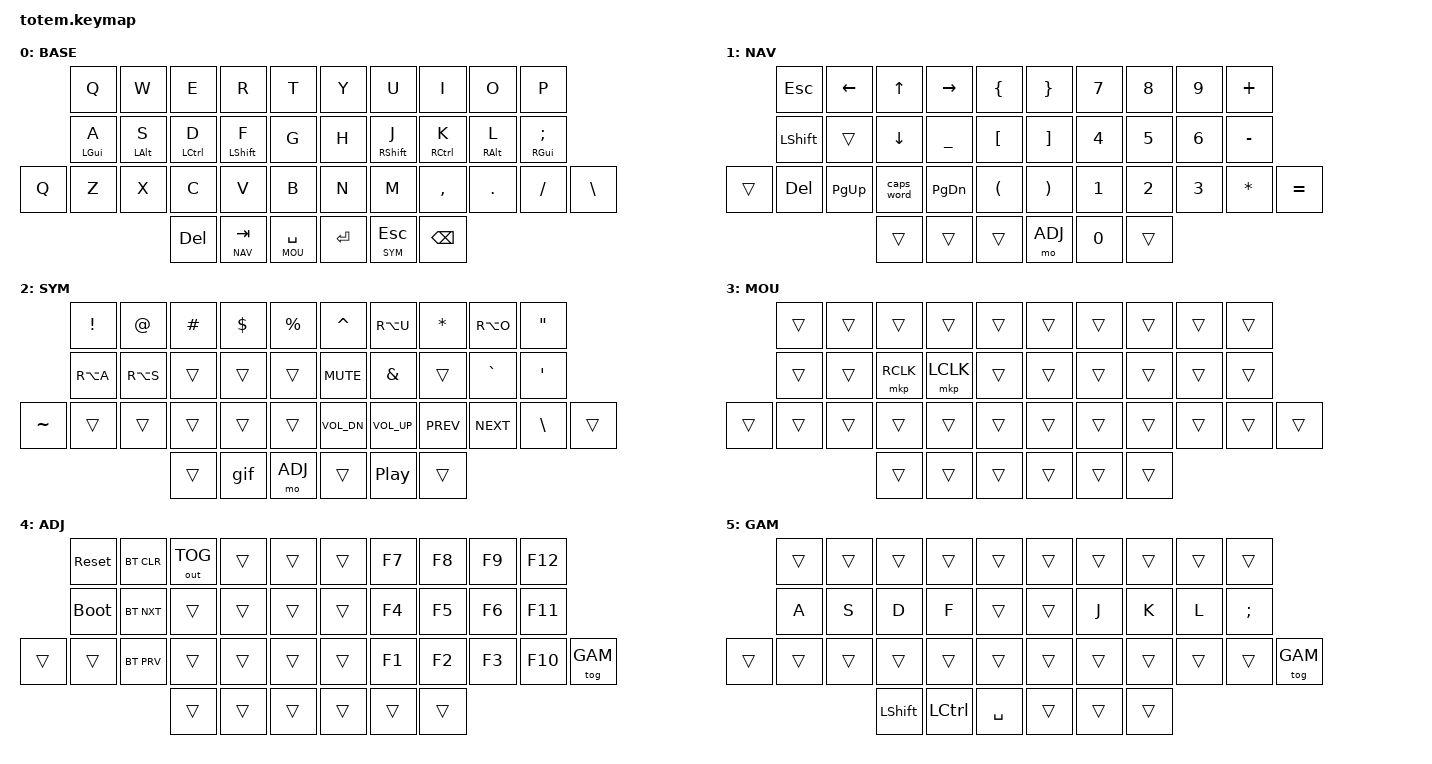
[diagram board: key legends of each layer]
//
//                                                        ▀▀▀▀▀     ▀▀▀▀▀          ▀▀█▀▀
//                                                        ▄▀▀▀▄  ▄  ▄▀▀▀▄  ▄  ▄▀▀▀▄  █  ▄▀▀▀▄
//                                                        █   █  █  █   █  █  █   █  █  █   █
//                                                         ▀▀▀   █   ▀▀▀   █   ▀▀▀   ▀   ▀▀▀
//                                                               █      ▄▄▄█▄▄▄    █   █  
//                                                               ▀      █  █  █     █▄█
//                                                             ▀▀▀▀▀    █  █  █      ▀
//                                                                      ▀  ▀  ▀
//
// ▄▄▄▄▄▄▄▄▄▄▄▄▄▄▄▄▄▄▄▄▄▄▄▄▄▄▄▄▄▄▄▄▄▄▄▄▄▄▄▄▄▄▄▄▄▄▄▄▄▄▄▄▄▄▄▄▄▄▄▄▄▄▄▄▄▄▄▄▄▄▄▄▄▄▄▄▄▄▄▄▄▄▄▄▄▄▄▄▄▄▄▄▄▄▄▄▄▄▄▄▄▄▄▄▄▄▄▄▄▄▄▄▄▄▄▄▄▄▄▄▄▄▄▄▄▄▄▄▄▄▄▄▄▄▄▄▄▄▄▄▄▄▄▄▄▄▄▄▄

#include <dt-bindings/zmk/mouse.h>
#include <behaviors.dtsi>
#include <dt-bindings/zmk/bt.h>
#include <dt-bindings/zmk/keys.h>
#include <dt-bindings/zmk/outputs.h>
#include <dt-bindings/zmk/pointing.h>

#define BASE 0
#define NAV  1
#define SYM  2
#define MOU  3
#define ADJ  4
#define GAM  5

&mt {
    quick-tap-ms = <100>;
    global-quick-tap;
    flavor = "tap-preferred";
    tapping-term-ms = <170>;
};

/ {
    combos {
        compatible = "zmk,combos";

        combo_esc {
            timeout-ms = <50>;
            key-positions = <0 1>;
            bindings = <&kp ESC>;
        };
    };

    macros {
        gif: gif {
            label = "giphy";
            compatible = "zmk,behavior-macro";
            #binding-cells = <0>;
            bindings =
                <&macro_press>,
                <&kp LSHFT>,
                <&macro_tap>,
                <&kp N2>,
                <&macro_release>,
                <&kp LSHFT>,
                <&macro_tap>,
                <&kp G &kp I &kp F>;
        };
    };

    behaviors {
        caps_word: caps_word {
            compatible = "zmk,behavior-caps-word";
            label = "CAPS_WORD";
            #binding-cells = <0>;
            continue-list = <UNDERSCORE MINUS>;
        };
    };

    keymap {
        compatible = "zmk,keymap";

        base_layer {
            label = "BASE";
            bindings = <
       &kp Q       &kp W       &kp E        &kp R        &kp T            &kp Y    &kp U        &kp I        &kp O       &kp P
       &mt LGUI A  &mt LALT S  &mt LCTRL D  &mt LSHFT F  &kp G            &kp H    &mt RSHFT J  &mt RCTRL K  &mt RALT L  &mt RGUI SEMI
&kp Q  &kp Z       &kp X       &kp C        &kp V        &kp B            &kp N    &kp M        &kp COMMA    &kp DOT     &kp FSLH       &kp BSLH
                               &kp DEL      &lt NAV TAB  &lt MOU SPACE    &kp RET  &lt SYM ESC  &kp BSPC
            >;
        };

        nav_layer {
            label = "NAV";
            bindings = <
        &kp ESC    &kp LEFT   &kp UP      &kp RIGHT  &kp LBRC    &kp RBRC  &kp N7  &kp N8  &kp N9  &kp PLUS
        &kp LSHFT  &trans     &kp DOWN    &kp UNDER  &kp LBKT    &kp RBKT  &kp N4  &kp N5  &kp N6  &kp MINUS
&trans  &kp DEL    &kp PG_UP  &caps_word  &kp PG_DN  &kp LPAR    &kp RPAR  &kp N1  &kp N2  &kp N3  &kp STAR   &kp EQUAL
                              &trans      &trans     &trans      &mo ADJ   &kp N0  &trans
            >;
        };

        sym_layer {
            label = "SYM";
            bindings = <
           &kp EXCL   &kp AT     &kp HASH  &kp DLLR  &kp PRCNT    &kp CARET     &kp RA(U)     &kp STAR    &kp RA(O)   &kp DQT
           &kp RA(A)  &kp RA(S)  &trans    &trans    &trans       &kp C_MUTE    &kp AMPS      &trans      &kp GRAVE   &kp SQT
&kp TILDE  &trans     &trans     &trans    &trans    &trans       &kp C_VOL_DN  &kp C_VOL_UP  &kp C_PREV  &kp C_NEXT  &kp BSLH  &trans
                                 &trans    &gif      &mo ADJ      &trans        &kp C_PP      &trans
            >;
        };

        mouse_layer {
            label = "MOU";
            bindings = <
        &trans  &trans  &trans     &trans     &trans    &trans  &trans  &trans  &trans  &trans
        &trans  &trans  &mkp RCLK  &mkp LCLK  &trans    &trans  &trans  &trans  &trans  &trans
&trans  &trans  &trans  &trans     &trans     &trans    &trans  &trans  &trans  &trans  &trans  &trans
                        &trans     &trans     &trans    &trans  &trans  &trans
            >;
        };

        adjust_layer {
            label = "ADJ";
            bindings = <
        &sys_reset   &bt BT_CLR  &out OUT_TOG  &trans  &trans    &trans  &kp F7  &kp F8  &kp F9  &kp F12
        &bootloader  &bt BT_NXT  &trans        &trans  &trans    &trans  &kp F4  &kp F5  &kp F6  &kp F11
&trans  &trans       &bt BT_PRV  &trans        &trans  &trans    &trans  &kp F1  &kp F2  &kp F3  &kp F10  &tog GAM
                                 &trans        &trans  &trans    &trans  &trans  &trans
            >;
        };

        gaming_layer {
            label = "GAM";
            bindings = <
        &trans  &trans  &trans          &trans            &trans       &trans  &trans  &trans  &trans  &trans
        &kp A   &kp S   &kp D           &kp F             &trans       &trans  &kp J   &kp K   &kp L   &kp SEMICOLON
&trans  &trans  &trans  &trans          &trans            &trans       &trans  &trans  &trans  &trans  &trans         &tog GAM
                        &kp LEFT_SHIFT  &kp LEFT_CONTROL  &kp SPACE    &trans  &trans  &trans
            >;
        };
    };
};
